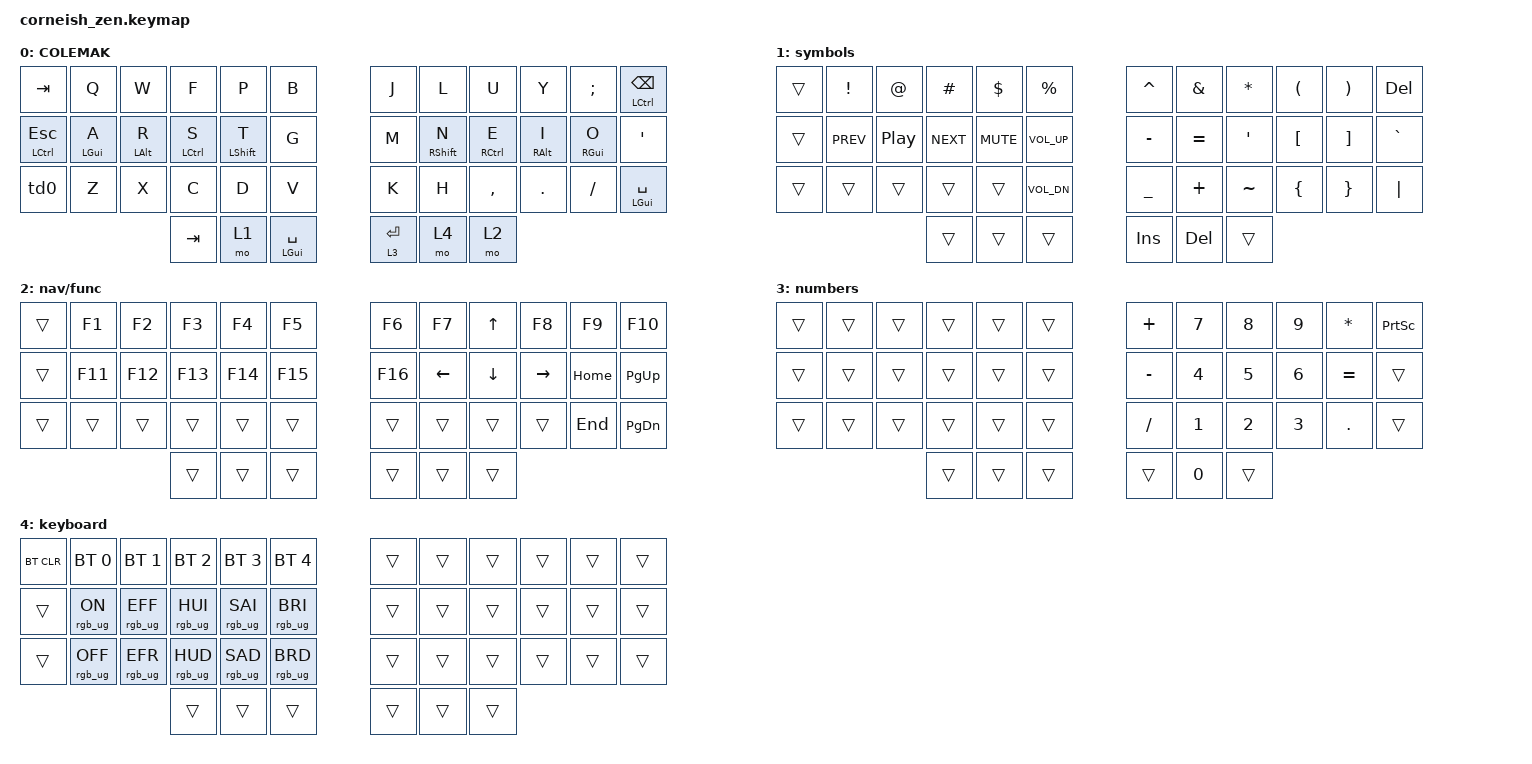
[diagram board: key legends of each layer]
/*
 * Copyright (c) 2020 The ZMK Contributors
 *
 * SPDX-License-Identifier: MIT
 * 
 * Optimized for workflow patterns including:
 * - tmux with Ctrl+A prefix and Ctrl+hjkl navigation
 * - Super key window management (Super+1-9 workspace switching)
 * - Neovim leader key (Space) accessibility
 * - Home row modifiers for reduced pinky strain
 * - Thumb-accessible Ctrl for terminal workflow
 */

#include <behaviors.dtsi>
#include <dt-bindings/zmk/bt.h>
#include <dt-bindings/zmk/keys.h>
#include <dt-bindings/zmk/rgb.h>

/ {
    chosen {
        zmk,matrix_transform = &default_transform;

        // zmk,matrix_transform = &five_column_transform;
    };
};

/ {
    behaviors {
        // Home row modifiers for left hand
        hml: hml {
            compatible = "zmk,behavior-hold-tap";
            label = "HOMEROW_MODS_LEFT";
            #binding-cells = <2>;
            bindings = <&kp>, <&kp>;
            tapping-term-ms = <280>;
            quick-tap-ms = <175>;
            flavor = "balanced";
            hold-trigger-key-positions = <6 7 8 9 10 11 18 19 20 21 22 23 30 31 32 33 34 35>;
            hold-trigger-on-release;
        };

        // Home row modifiers for right hand
        hmr: hmr {
            compatible = "zmk,behavior-hold-tap";
            label = "HOMEROW_MODS_RIGHT";
            #binding-cells = <2>;
            bindings = <&kp>, <&kp>;
            tapping-term-ms = <280>;
            quick-tap-ms = <175>;
            flavor = "balanced";
            hold-trigger-key-positions = <0 1 2 3 4 5 12 13 14 15 16 17 24 25 26 27 28 29>;
            hold-trigger-on-release;
        };

        // Improved tap-dance with shorter delay
        td0: td0 {
            compatible = "zmk,behavior-tap-dance";
            label = "TD0";
            #binding-cells = <0>;
            bindings = <&kp LEFT_SHIFT>, <&kp CAPS>;
            tapping-term-ms = <200>;
        };


        // Super/Meta key behavior for window management
        super_space: super_space {
            compatible = "zmk,behavior-hold-tap";
            label = "SUPER_SPACE";
            #binding-cells = <2>;
            bindings = <&kp>, <&kp>;
            tapping-term-ms = <200>;
            flavor = "balanced";
        };

        // Ctrl thumb key
        ctrl_bspc: ctrl_bspc {
            compatible = "zmk,behavior-hold-tap";
            label = "CTRL_BACKSPACE";
            #binding-cells = <2>;
            bindings = <&kp>, <&kp>;
            tapping-term-ms = <200>;
            flavor = "balanced";
        };
    };


    combos {
        compatible = "zmk,combos";

        // JK -> Escape (classic vim combo)
        combo_esc {
            timeout-ms = <50>;
            key-positions = <19 20>; // N E (home row right hand middle two)
            bindings = <&kp ESC>;
            layers = <0>;
        };

        // QW -> Tab
        combo_tab {
            timeout-ms = <50>;
            key-positions = <1 2>; // Q W
            bindings = <&kp TAB>;
            layers = <0>;
        };

        // Swedish characters (work with Swedish OS layout)
        // L+U -> å (sends [ which Swedish layout interprets as å)
        combo_aa {
            timeout-ms = <50>;
            key-positions = <7 8>; // L U
            bindings = <&kp LBKT>;
            layers = <0>;
        };

        // I+O -> ä (sends ' which Swedish layout interprets as ä)
        combo_ae {
            timeout-ms = <50>;
            key-positions = <21 22>; // I O
            bindings = <&kp SQT>;
            layers = <0>;
        };

        // Y+; -> ö (sends ; which Swedish layout interprets as ö)
        combo_oe {
            timeout-ms = <50>;
            key-positions = <9 10>; // Y ;
            bindings = <&kp SEMI>;
            layers = <0>;
        };
    };

    keymap {
        compatible = "zmk,keymap";

        default_layer {
            display-name = "COLEMAK";
            bindings = <
&kp TAB           &kp Q                &kp W              &kp F                 &kp P               &kp B          &kp J                             &kp L               &kp U                 &kp Y              &kp SEMI           &ctrl_bspc LCTRL BSPC
&mt LCTRL ESC     &hml LGUI A          &hml LALT R        &hml LCTRL S          &hml LSHIFT T       &kp G          &kp M                             &hmr RSHIFT N       &hmr RCTRL E          &hmr RALT I        &hmr RGUI O        &kp SQT
&td0              &kp Z                &kp X              &kp C                 &kp D               &kp V          &kp K                             &kp H               &kp COMMA             &kp DOT            &kp FSLH           &super_space LGUI SPACE
                                         &kp TAB           &mo 1               &mt LGUI SPACE    &lt 3 ENTER                       &mo 4               &mo 2
            >;

            label = "COLEMAK";
        };

        lower_layer {
            display-name = "symbols";

            // -----------------------------------------------------------------------------------------
            // | TAB  |  !  |  @  |  #  |  $  |  %  |   |  ^  |  &  |  *  |  (  |  )  | DEL  |
            // | TRANS| PREV| PLAY| NEXT| MUTE| VOL+|   |  -  |  =  |  '  |  [  |  ]  |  `   |
            // | TRANS| TRANS|TRANS|TRANS|TRANS| VOL-|   |  _  |  +  |  ~  |  {  |  }  |  |   |
            //                    | GUI | TRANS| SPC |   | INS | DEL | ALT |

            bindings = <
&trans  &kp EXCL       &kp AT           &kp HASH          &kp DLLR        &kp PRCNT       &kp CARET       &kp AMPS   &kp ASTERISK  &kp LEFT_PARENTHESIS  &kp RIGHT_PARENTHESIS  &kp DELETE
&trans  &kp C_PREV     &kp C_PLAY_PAUSE &kp C_NEXT        &kp C_MUTE      &kp C_VOL_UP    &kp MINUS       &kp EQUAL  &kp SQT       &kp LBKT              &kp RBKT               &kp GRAVE
&trans  &trans         &trans           &trans            &trans          &kp C_VOL_DN    &kp UNDERSCORE  &kp PLUS   &kp TILDE     &kp LEFT_BRACE        &kp RIGHT_BRACE        &kp PIPE
                                        &trans            &trans          &trans          &kp INS         &kp DEL    &trans
            >;
        };

        FUNCTIONS {
            display-name = "nav/func";
            bindings = <
&trans  &kp F1   &kp F2   &kp F3   &kp F4   &kp F5     &kp F6   &kp F7    &kp UP_ARROW  &kp F8     &kp F9    &kp F10
&trans  &kp F11  &kp F12  &kp F13  &kp F14  &kp F15    &kp F16  &kp LEFT  &kp DOWN      &kp RIGHT  &kp HOME  &kp PG_UP
&trans  &trans   &trans   &trans   &trans   &trans     &trans   &trans    &trans        &trans     &kp END   &kp PG_DN
                          &trans   &trans   &trans     &trans   &trans    &trans
            >;
        };

        numbers_layer {
            display-name = "numbers";
            bindings = <
&trans  &trans  &trans  &trans  &trans  &trans    &kp PLUS         &kp N7  &kp N8  &kp N9  &kp ASTERISK     &kp PRINTSCREEN
&trans  &trans  &trans  &trans  &trans  &trans    &kp MINUS        &kp N4  &kp N5  &kp N6  &kp EQUAL        &trans
&trans  &trans  &trans  &trans  &trans  &trans    &kp SLASH        &kp N1  &kp N2  &kp N3  &kp DOT          &trans
                        &trans  &trans  &trans    &trans           &kp N0  &trans
            >;
        };

        keyboard_settings {
            display-name = "keyboard";
            bindings = <
&bt BT_CLR  &bt BT_SEL 0     &bt BT_SEL 1     &bt BT_SEL 2     &bt BT_SEL 3     &bt BT_SEL 4       &trans  &trans  &trans  &trans  &trans  &trans
&trans      &rgb_ug RGB_ON   &rgb_ug RGB_EFF  &rgb_ug RGB_HUI  &rgb_ug RGB_SAI  &rgb_ug RGB_BRI    &trans  &trans  &trans  &trans  &trans  &trans
&trans      &rgb_ug RGB_OFF  &rgb_ug RGB_EFR  &rgb_ug RGB_HUD  &rgb_ug RGB_SAD  &rgb_ug RGB_BRD    &trans  &trans  &trans  &trans  &trans  &trans
                                              &trans           &trans           &trans             &trans  &trans  &trans
            >;
        };

    };
};
